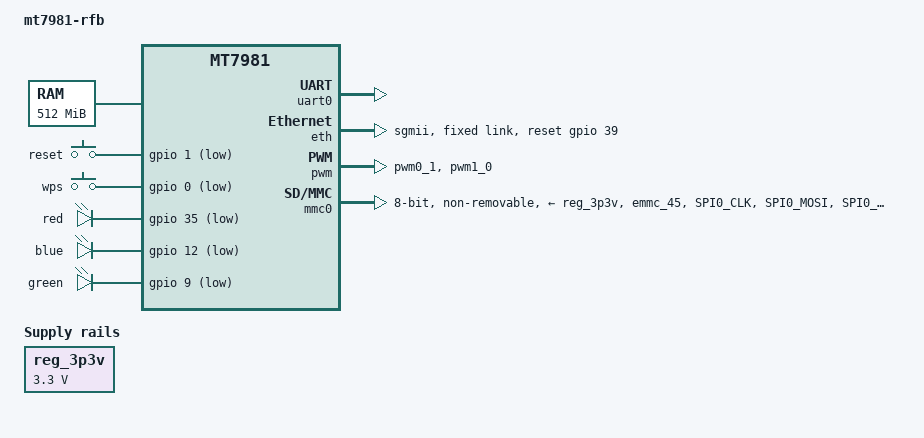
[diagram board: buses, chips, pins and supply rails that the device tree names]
// SPDX-License-Identifier: GPL-2.0
/*
 * Copyright (c) 2021 MediaTek Inc.
 * Author: Sam Shih <sam.shih@mediatek.com>
 */

/dts-v1/;
#include "mt7981.dtsi"
#include <dt-bindings/gpio/gpio.h>
#include <dt-bindings/input/input.h>

/ {
	#address-cells = <1>;
	#size-cells = <1>;
	model = "mt7981-rfb";
	compatible = "mediatek,mt7981", "mediatek,mt7981-rfb";
	chosen {
		stdout-path = &uart0;
		tick-timer = &timer0;
	};

	config {
		blink_led = "red";
		system_led = "blue";
		success_led = "green";
	};

	memory@40000000 {
		device_type = "memory";
		reg = <0x40000000 0x20000000>;
	};

	reg_3p3v: regulator-3p3v {
                  compatible = "regulator-fixed";
                  regulator-name = "fixed-3.3V";
                  regulator-min-microvolt = <3300000>;
                  regulator-max-microvolt = <3300000>;
                  regulator-boot-on;
                  regulator-always-on;
        };
        
	gpio-keys {
		compatible = "gpio-keys";

		reset {
			label = "reset";
			linux,code = <KEY_RESTART>;
			gpios = <&gpio 1 GPIO_ACTIVE_LOW>;
		};

		wps {
			label = "wps";
			linux,code = <KEY_WPS_BUTTON>;
			gpios = <&gpio 0 GPIO_ACTIVE_LOW>;
		};
	};

	leds {
		compatible = "gpio-leds";

		led_red {
			label = "red";
			gpios = <&gpio 35 GPIO_ACTIVE_LOW>;
			default-state = "on";
		};

		led_blue {
			label = "blue";
			gpios = <&gpio 12 GPIO_ACTIVE_LOW>;
			default-state = "off";
		};

		led_green {
			label = "green";
			gpios = <&gpio 9 GPIO_ACTIVE_LOW>;
			default-state = "off";
		};
	};
};

&uart0 {
	status = "okay";
};

&uart1 {
	pinctrl-names = "default";
	pinctrl-0 = <&uart1_pins>;
	status = "disabled";
};

&eth {
	status = "okay";
	mediatek,gmac-id = <0>;
	phy-mode = "sgmii";
	mediatek,switch = "mt7531";
	reset-gpios = <&gpio 39 GPIO_ACTIVE_HIGH>;

	fixed-link {
		speed = <1000>;
		full-duplex;
	};
};

&pinctrl {
	spic_pins: spi1-pins-func-1 {
		mux {
			function = "spi";
			groups = "spi1_1";
		};
	};

	uart1_pins: spi1-pins-func-3 {
		mux {
			function = "uart";
			groups = "uart1_2";
		};
	};

	/* pin15 as pwm0 */
	one_pwm_pins: one-pwm-pins {
		mux {
			function = "pwm";
			groups = "pwm0_1";
		};
	};

	/* pin15 as pwm0 and pin14 as pwm1 */
	two_pwm_pins: two-pwm-pins {
		mux {
			function = "pwm";
			groups = "pwm0_1", "pwm1_0";
		};
	};

	/* pin15 as pwm0, pin14 as pwm1, pin7 as pwm2 */
	three_pwm_pins: three-pwm-pins {
		mux {
			function = "pwm";
			groups = "pwm0_1", "pwm1_0", "pwm2";
		};
	};

	mmc0_pins_default: mmc0default {
		mux {
			function = "flash";
			groups = "emmc_45";
		};
		conf-cmd-dat {
			pins = "SPI0_CLK", "SPI0_MOSI", "SPI0_MISO",
				"SPI0_CS",  "SPI0_HOLD", "SPI0_WP",
				"SPI1_CLK", "SPI1_MOSI", "SPI1_MISO";
			input-enable;
			drive-strength = <MTK_DRIVE_4mA>;
			bias-pull-up = <MTK_PUPD_SET_R1R0_01>;
		};
		conf-clk {
			pins = "SPI1_CS";
			drive-strength = <MTK_DRIVE_6mA>;
			bias-pull-down = <MTK_PUPD_SET_R1R0_10>;
		};
		conf-rst {
			pins = "PWM0";
			drive-strength = <MTK_DRIVE_4mA>;
			bias-pull-up = <MTK_PUPD_SET_R1R0_01>;
		};
	};
};

&pwm {
	pinctrl-names = "default";
	pinctrl-0 = <&two_pwm_pins>;
	status = "okay";
};

&watchdog {
	status = "disabled";
};

&mmc0 {
        pinctrl-names = "default";
        pinctrl-0 = <&mmc0_pins_default>;
        bus-width = <8>;
        max-frequency = <52000000>;
        cap-mmc-highspeed;
        cap-mmc-hw-reset;
        vmmc-supply = <&reg_3p3v>;
        non-removable;
        status = "okay";
};
